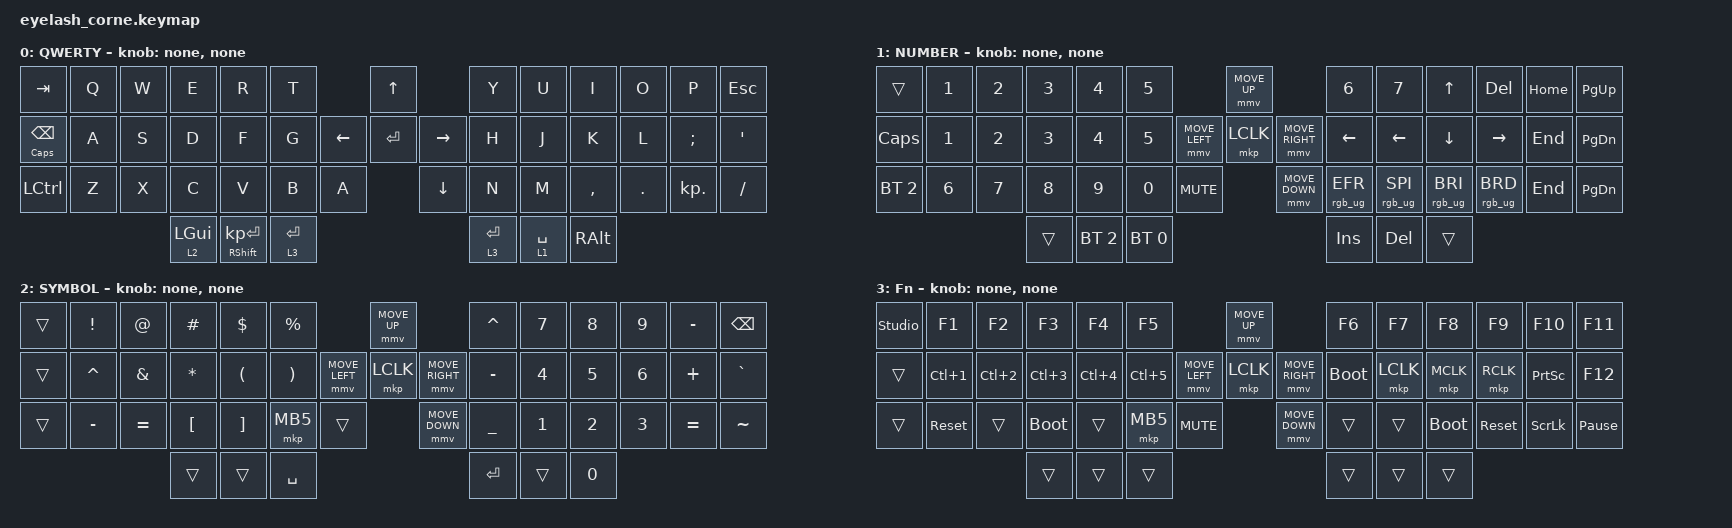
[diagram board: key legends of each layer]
#define ZMK_POINTING_DEFAULT_MOVE_VAL 1200  // 600
#define ZMK_POINTING_DEFAULT_SCRL_VAL 25   // 10

#include <input/processors.dtsi>
#include <zephyr/dt-bindings/input/input-event-codes.h>
#include <behaviors/runtime-sensor-rotate.dtsi>
#include <behaviors.dtsi>
#include <dt-bindings/zmk/bt.h>
#include <dt-bindings/zmk/keys.h>
#include <dt-bindings/zmk/pointing.h>
#include <dt-bindings/zmk/rgb.h>

/ {
    combos {
        compatible = "zmk,combos";

        ctrlc {
            bindings = <&kp LC(C)>;
            key-positions = <14 15>;
        };

        ctrlv {
            bindings = <&kp LC(V)>;
            key-positions = <15 16>;
        };

        left {
            bindings = <&kp LEFT_PARENTHESIS>;
            key-positions = <2 3>;
        };

        rg {
            bindings = <&kp RIGHT_PARENTHESIS>;
            key-positions = <3 17>;
        };

        colon {
            bindings = <&kp COLON>;
            key-positions = <14 28>;
        };

        til {
            bindings = <&kp TILDE>;
            key-positions = <13 14>;
        };
    };

    keymap {
        compatible = "zmk,keymap";

        default_layer {
            display-name = "QWERTY";
            bindings = <
&kp TAB                 &kp Q  &kp W  &kp E           &kp R               &kp T                           &kp UP                &kp Y        &kp U        &kp I      &kp O    &kp P          &kp ESC
&mt CAPSLOCK BACKSPACE  &kp A  &kp S  &kp D           &kp F               &kp G                 &kp LEFT  &kp ENTER  &kp RIGHT  &kp H        &kp J        &kp K      &kp L    &kp SEMICOLON  &kp SQT
&kp LCTRL               &kp Z  &kp X  &kp C           &kp V               &kp B        &kp A              &kp DOWN              &kp N        &kp M        &kp COMMA  &kp DOT  &kp KP_DOT     &kp SLASH
                                      &lt 2 LEFT_GUI  &mt RSHFT KP_ENTER  &lt 3 ENTER                                           &lt 3 ENTER  &lt 1 SPACE  &kp RALT
            >;

            sensor-bindings = <&none>, <&none>;
        };

        lower_layer {
            display-name = "NUMBER";
            bindings = <
&trans        &kp N1        &kp N2        &kp N3        &kp N4        &kp N5                                      &mmv MOVE_UP                     &kp N6           &kp N7           &kp UP_ARROW     &kp DEL          &kp HOME  &kp PAGE_UP
&kp CAPS      &kp NUMBER_1  &kp NUMBER_2  &kp NUMBER_3  &kp NUMBER_4  &kp N5                      &mmv MOVE_LEFT  &mkp LCLK       &mmv MOVE_RIGHT  &kp LEFT         &kp LEFT_ARROW   &kp DOWN         &kp RIGHT        &kp END   &kp PAGE_DOWN
&bt BT_SEL 2  &kp NUMBER_6  &kp N7        &kp N8        &kp N9        &kp N0        &kp C_MUTE                    &mmv MOVE_DOWN                   &rgb_ug RGB_EFR  &rgb_ug RGB_SPI  &rgb_ug RGB_BRI  &rgb_ug RGB_BRD  &kp END   &kp PG_DN
                                          &trans        &bt BT_SEL 2  &bt BT_SEL 0                                                                 &kp INS          &kp DEL          &trans
            >;

            sensor-bindings = <&none>, <&none>;
        };

        raise_layer {
            display-name = "SYMBOL";
            bindings = <
&trans  &kp EXCL   &kp AT         &kp HASH          &kp DLLR              &kp PRCNT                                        &mmv MOVE_UP                     &kp CARET  &kp NUMBER_7  &kp N8        &kp NUMBER_9  &kp MINUS  &kp BSPC
&trans  &kp CARET  &kp AMPERSAND  &kp ASTERISK      &kp LEFT_PARENTHESIS  &kp RIGHT_PARENTHESIS            &mmv MOVE_LEFT  &mkp LCLK       &mmv MOVE_RIGHT  &kp MINUS  &kp NUMBER_4  &kp NUMBER_5  &kp NUMBER_6  &kp PLUS   &kp GRAVE
&trans  &kp MINUS  &kp EQUAL      &kp LEFT_BRACKET  &kp RIGHT_BRACKET     &mkp MB5               &trans                    &mmv MOVE_DOWN                   &kp UNDER  &kp N1        &kp NUMBER_2  &kp NUMBER_3  &kp EQUAL  &kp TILDE
                                  &trans            &trans                &kp SPACE                                                                         &kp RET    &trans        &kp N0
            >;

            sensor-bindings = <&none>, <&none>;
        };

        layer_3 {
            display-name = "Fn";
            bindings = <
&studio_unlock  &kp F1            &kp F2            &kp F3            &kp F4            &kp F5                                          &mmv MOVE_UP                     &kp F6       &kp F7     &kp F8       &kp F9      &kp F10          &kp F11
&trans          &kp LC(NUMBER_1)  &kp LC(NUMBER_2)  &kp LC(NUMBER_3)  &kp LC(NUMBER_4)  &kp LC(NUMBER_5)                &mmv MOVE_LEFT  &mkp LCLK       &mmv MOVE_RIGHT  &bootloader  &mkp LCLK  &mkp MCLK    &mkp RCLK   &kp PRINTSCREEN  &kp F12
&trans          &sys_reset        &trans            &bootloader       &trans            &mkp MB5          &kp C_MUTE                    &mmv MOVE_DOWN                   &trans       &trans     &bootloader  &sys_reset  &kp SCROLLLOCK   &kp PAUSE_BREAK
                                                    &trans            &trans            &trans                                                                           &trans       &trans     &trans
            >;

            sensor-bindings = <&none>, <&none>;
        };
    };
};
